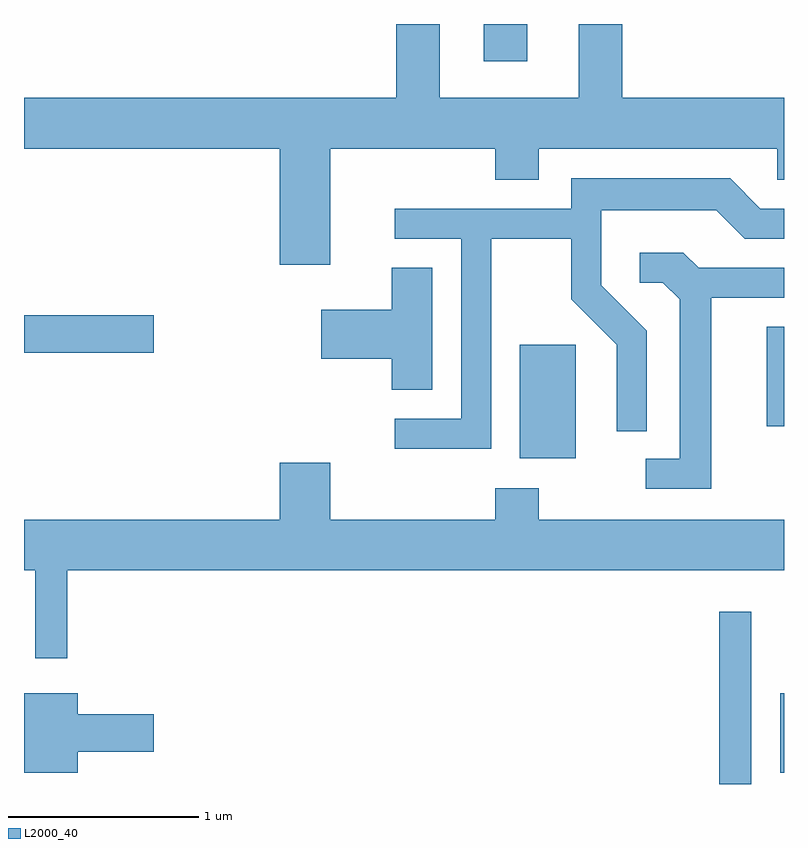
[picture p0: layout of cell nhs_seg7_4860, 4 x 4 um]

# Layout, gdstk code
import gdstk
lib = gdstk.Library(unit=1e-6, precision=1e-09)
def R(c, l, rs):  # rectangles x0, y0, x1, y1
    for r in rs: c.add(gdstk.rectangle(r[:2], r[2:], *l))
def P(c, l, *ps):  # polygons
    for p in ps: c.add(gdstk.Polygon(p, *l))
L2000_40 = (2000, 40)

nhs_seg7_4860 = lib.new_cell('nhs_seg7_4860')
R(nhs_seg7_4860, L2000_40, [(337.271,1764.252,337.439,1765.158), (337.591,1764.311,337.611,1764.729), (336.221,1765.966,336.514,1766.564), (337.521,1766.136,337.611,1766.659), (333.611,1766.521,334.294,1766.719), (336.031,1768.056,336.259,1768.252)])
P(nhs_seg7_4860, L2000_40, [(335.224,1767.596),(336.091,1767.596),(336.091,1767.431),(336.319,1767.431),(336.319,1767.596),(337.576,1767.596),(337.576,1767.431),(337.611,1767.431),(337.611,1767.864),(336.759,1767.864),(336.759,1768.252),(336.531,1768.252),(336.531,1767.864),(335.799,1767.864),(335.799,1768.252),(335.571,1768.252),(335.571,1767.864),(333.611,1767.864),(333.611,1767.596),(334.956,1767.596),(334.956,1766.986),(335.224,1766.986)],
  [(336.069,1767.121),(336.491,1767.121),(336.491,1766.804),(336.731,1766.564),(336.731,1766.108),(336.889,1766.108),(336.889,1766.637),(336.649,1766.877),(336.649,1767.271),(337.254,1767.271),(337.404,1767.121),(337.611,1767.121),(337.611,1767.279),(337.487,1767.279),(337.327,1767.439),(336.491,1767.439),(336.491,1767.279),(335.563,1767.279),(335.563,1767.121),(335.911,1767.121),(335.911,1766.174),(335.563,1766.174),(335.563,1766.016),(336.069,1766.016)],
  [(337.229,1766.811),(337.611,1766.811),(337.611,1766.969),(337.162,1766.969),(337.082,1767.049),(336.853,1767.049),(336.853,1766.891),(336.974,1766.891),(337.061,1766.804),(337.061,1765.964),(336.883,1765.964),(336.883,1765.806),(337.229,1765.806)],
  [(335.759,1766.969),(335.546,1766.969),(335.546,1766.749),(335.176,1766.749),(335.176,1766.491),(335.546,1766.491),(335.546,1766.326),(335.759,1766.326)],
  [(333.839,1765.376),(337.611,1765.376),(337.611,1765.644),(336.319,1765.644),(336.319,1765.809),(336.091,1765.809),(336.091,1765.644),(335.224,1765.644),(335.224,1765.944),(334.956,1765.944),(334.956,1765.644),(333.611,1765.644),(333.611,1765.376),(333.671,1765.376),(333.671,1764.913),(333.839,1764.913)],
  [(333.894,1764.421),(334.294,1764.421),(334.294,1764.619),(333.894,1764.619),(333.894,1764.729),(333.611,1764.729),(333.611,1764.311),(333.894,1764.311)])

lib.write_gds('nhs_seg7_4860.gds')
